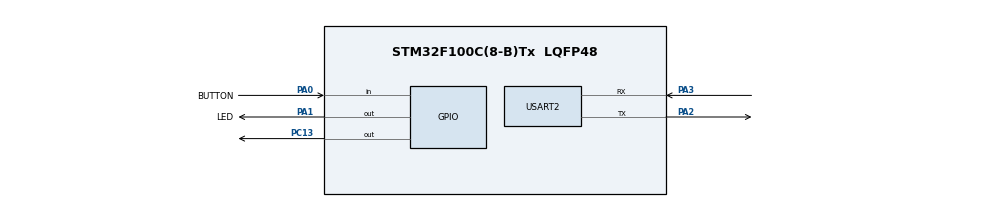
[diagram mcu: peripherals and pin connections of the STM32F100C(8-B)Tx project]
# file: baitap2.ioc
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FREERTOS.Queues01=Queue,16,uint16_t,0,Dynamic,NULL,NULL
FREERTOS.Tasks01=TaskUART,0,128,StartTaskUART,Default,NULL,Dynamic,NULL,NULL;TaskLED,-3,128,StartTaskLED,Default,NULL,Dynamic,NULL,NULL;TaskButton,-3,128,StartTaskButton,Default,NULL,Dynamic,NULL,NULL
Mcu.Family=STM32F1
Mcu.Name=STM32F100C(8-B)Tx
Mcu.Package=LQFP48
NVIC.PriorityGroup=NVIC_PRIORITYGROUP_4
NVIC.TIM1_UP_TIM16_IRQn=true\:15\:0\:false\:false\:true\:false\:false\:true\:true
NVIC.TimeBase=TIM1_UP_TIM16_IRQn
NVIC.TimeBaseIP=TIM1
NVIC.USART2_IRQn=true\:5\:0\:false\:false\:true\:true\:true\:true\:true
PA0-WKUP.GPIO_Label=BUTTON
PA0-WKUP.GPIO_PuPd=GPIO_PULLUP
PA0-WKUP.Signal=GPIO_Input
PA1.GPIO_Label=LED
PA1.Signal=GPIO_Output
PA13.Mode=Serial_Wire
PA13.Signal=SYS_JTMS-SWDIO
PA14.Mode=Serial_Wire
PA14.Signal=SYS_JTCK-SWCLK
PA2.Mode=Asynchronous
PA2.Signal=USART2_TX
PA3.Mode=Asynchronous
PA3.Signal=USART2_RX
PC13-TAMPER-RTC.Signal=GPIO_Output
ProjectManager.HeapSize=0x200
ProjectManager.StackSize=0x400
ProjectManager.TargetToolchain=STM32CubeIDE
RCC.APB1Freq_Value=8000000
RCC.APB2Freq_Value=8000000
USART2.VirtualMode=VM_ASYNC
VP_FREERTOS_VS_CMSIS_V1.Mode=CMSIS_V1
VP_SYS_VS_tim1.Mode=TIM1
board=custom

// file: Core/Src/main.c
/* USER CODE BEGIN Header */
/**
  ******************************************************************************
  * @file           : main.c
  * @brief          : Main program body
  ******************************************************************************
  * @attention
  *
  * Copyright (c) 2024 STMicroelectronics.
  * All rights reserved.
  *
  * This software is licensed under terms that can be found in the LICENSE file
  * in the root directory of this software component.
  * If no LICENSE file comes with this software, it is provided AS-IS.
  *
  ******************************************************************************
  */
/* USER CODE END Header */
#include <stdio.h>
#include "main.h"
#include "string.h"
#include "stdbool.h"
#include "cmsis_os.h"

UART_HandleTypeDef huart2;

osThreadId TaskUARTHandle;
osThreadId TaskLEDHandle;
osThreadId TaskButtonHandle;
osMessageQId QueueHandle;

void SystemClock_Config(void);
static void MX_GPIO_Init(void);
static void MX_USART2_UART_Init(void);
void StartTaskUART(void const * argument);
void StartTaskLED(void const * argument);
void StartTaskButton(void const * argument);

/* USER CODE BEGIN 0 */
uint8_t status;
uint8_t rx_data[12]={};
uint8_t tx_data[]="Received Information\r\n";

/* USER CODE END 0 */

int main(void)
{

  /* MCU Configuration--------------------------------------------------------*/

  /* Reset of all peripherals, Initializes the Flash interface and the Systick. */
  HAL_Init();

  /* Configure the system clock */
  SystemClock_Config();

  /* Initialize all configured peripherals */
  MX_GPIO_Init();
  MX_USART2_UART_Init();

  /* Create the queue(s) */
  /* definition and creation of Queue */
  osMessageQDef(Queue, 16, uint16_t);
  QueueHandle = osMessageCreate(osMessageQ(Queue), NULL);

  /* Create the thread(s) */
  /* definition and creation of TaskUART */
  osThreadDef(TaskUART, StartTaskUART, osPriorityNormal, 0, 128);
  TaskUARTHandle = osThreadCreate(osThread(TaskUART), NULL);

  /* definition and creation of TaskLED */
  osThreadDef(TaskLED, StartTaskLED, osPriorityIdle, 0, 128);
  TaskLEDHandle = osThreadCreate(osThread(TaskLED), NULL);

  /* definition and creation of TaskButton */
  osThreadDef(TaskButton, StartTaskButton, osPriorityIdle, 0, 128);
  TaskButtonHandle = osThreadCreate(osThread(TaskButton), NULL);

  /* Start scheduler */
  osKernelStart();

  /* We should never get here as control is now taken by the scheduler */
  /* Infinite loop */
  while (1)
  {

  }
}

void SystemClock_Config(void)
{
  RCC_OscInitTypeDef RCC_OscInitStruct = {0};
  RCC_ClkInitTypeDef RCC_ClkInitStruct = {0};

  /** Initializes the RCC Oscillators according to the specified parameters
  * in the RCC_OscInitTypeDef structure.
  */
  RCC_OscInitStruct.OscillatorType = RCC_OSCILLATORTYPE_HSI;
  RCC_OscInitStruct.HSIState = RCC_HSI_ON;
  RCC_OscInitStruct.HSICalibrationValue = RCC_HSICALIBRATION_DEFAULT;
  RCC_OscInitStruct.PLL.PLLState = RCC_PLL_NONE;
  if (HAL_RCC_OscConfig(&RCC_OscInitStruct) != HAL_OK)
  {
    Error_Handler();
  }

  /** Initializes the CPU, AHB and APB buses clocks
  */
  RCC_ClkInitStruct.ClockType = RCC_CLOCKTYPE_HCLK|RCC_CLOCKTYPE_SYSCLK
                              |RCC_CLOCKTYPE_PCLK1|RCC_CLOCKTYPE_PCLK2;
  RCC_ClkInitStruct.SYSCLKSource = RCC_SYSCLKSOURCE_HSI;
  RCC_ClkInitStruct.AHBCLKDivider = RCC_SYSCLK_DIV1;
  RCC_ClkInitStruct.APB1CLKDivider = RCC_HCLK_DIV1;
  RCC_ClkInitStruct.APB2CLKDivider = RCC_HCLK_DIV1;

  if (HAL_RCC_ClockConfig(&RCC_ClkInitStruct, FLASH_LATENCY_0) != HAL_OK)
  {
    Error_Handler();
  }
}

static void MX_USART2_UART_Init(void)
{

  huart2.Instance = USART2;
  huart2.Init.BaudRate = 115200;
  huart2.Init.WordLength = UART_WORDLENGTH_8B;
  huart2.Init.StopBits = UART_STOPBITS_1;
  huart2.Init.Parity = UART_PARITY_NONE;
  huart2.Init.Mode = UART_MODE_TX_RX;
  huart2.Init.HwFlowCtl = UART_HWCONTROL_NONE;
  huart2.Init.OverSampling = UART_OVERSAMPLING_16;
  if (HAL_UART_Init(&huart2) != HAL_OK)
  {
    Error_Handler();
  }

}

static void MX_GPIO_Init(void)
{
  GPIO_InitTypeDef GPIO_InitStruct = {0};

  /* GPIO Ports Clock Enable */
  __HAL_RCC_GPIOC_CLK_ENABLE();
  __HAL_RCC_GPIOA_CLK_ENABLE();

  /*Configure GPIO pin Output Level */
  HAL_GPIO_WritePin(GPIOC, GPIO_PIN_13, GPIO_PIN_RESET);

  /*Configure GPIO pin Output Level */
  HAL_GPIO_WritePin(LED_GPIO_Port, LED_Pin, GPIO_PIN_RESET);

  /*Configure GPIO pin : PC13 */
  GPIO_InitStruct.Pin = GPIO_PIN_13;
  GPIO_InitStruct.Mode = GPIO_MODE_OUTPUT_PP;
  GPIO_InitStruct.Pull = GPIO_NOPULL;
  GPIO_InitStruct.Speed = GPIO_SPEED_FREQ_LOW;
  HAL_GPIO_Init(GPIOC, &GPIO_InitStruct);

  /*Configure GPIO pin : BUTTON_Pin */
  GPIO_InitStruct.Pin = BUTTON_Pin;
  GPIO_InitStruct.Mode = GPIO_MODE_INPUT;
  GPIO_InitStruct.Pull = GPIO_PULLUP;
  HAL_GPIO_Init(BUTTON_GPIO_Port, &GPIO_InitStruct);

  /*Configure GPIO pin : LED_Pin */
  GPIO_InitStruct.Pin = LED_Pin;
  GPIO_InitStruct.Mode = GPIO_MODE_OUTPUT_PP;
  GPIO_InitStruct.Pull = GPIO_NOPULL;
  GPIO_InitStruct.Speed = GPIO_SPEED_FREQ_LOW;
  HAL_GPIO_Init(LED_GPIO_Port, &GPIO_InitStruct);

}

void StartTaskUART(void const * argument)
{
  /* USER CODE BEGIN 5 */
	int Tx_data_Queue;
	uint8_t temp[12]={};
  /* Infinite loop */
  for(;;)
  {
	  HAL_UART_Receive_IT(&huart2, rx_data, sizeof(rx_data));

	  if(memcmp(rx_data,"ON\CR\LF    ",sizeof(int)))
	  {
		  Tx_data_Queue=5;
		  osMessagePut(QueueHandle, Tx_data_Queue, 100);
		  strcpy(rx_data,temp);
 	  }
	  else if(memcmp(rx_data,"OFF\CR\LF   ",sizeof(int)))
	  {
		  Tx_data_Queue=6;
		  osMessagePut(QueueHandle, Tx_data_Queue, 100);
		  strcpy(rx_data,temp);
	  }
	  else if(memcmp(rx_data,"TOOGLE\CR\LF",sizeof(int)))
	  {
		  Tx_data_Queue=7;
		  osMessagePut(QueueHandle, Tx_data_Queue, 100);
		  strcpy(rx_data,temp);
	  }

    osDelay(1);
  }
  /* USER CODE END 5 */
}

void StartTaskLED(void const * argument)
{
	osEvent value;
	int Rx_data=0;
  /* USER CODE BEGIN StartTaskLED */
  /* Infinite loop */
  for(;;)
  {
	  value=osMessageGet(QueueHandle, 100);
	  Rx_data=value.value.p;
	  switch (Rx_data)
	  {
	  case 5:
		  HAL_GPIO_WritePin(LED_GPIO_Port, LED_Pin, GPIO_PIN_SET);
		  break;
	  case 6:
		  HAL_GPIO_WritePin(LED_GPIO_Port, LED_Pin, GPIO_PIN_RESET);
	  		  break;
	  case 7:
		  HAL_GPIO_TogglePin(LED_GPIO_Port, LED_Pin);
	  		  break;
	  default:
		  HAL_GPIO_WritePin(LED_GPIO_Port, LED_Pin, Rx_data);
		  break;
	  }
	  osDelay(1);
  }
  /* USER CODE END StartTaskLED */
}

void StartTaskButton(void const * argument)
{
	int Tx_data=HAL_GPIO_ReadPin(BUTTON_GPIO_Port, BUTTON_Pin);
  /* USER CODE BEGIN StartTaskButton */
  /* Infinite loop */
  for(;;)
  {
	  if(HAL_GPIO_ReadPin(BUTTON_GPIO_Port, BUTTON_Pin) == 0)
	  {
		  while (HAL_GPIO_ReadPin(BUTTON_GPIO_Port, BUTTON_Pin) == 0){}
		  Tx_data =~ Tx_data;
		  osMessagePut(QueueHandle, Tx_data, 100);
	  }
    osDelay(1);
  }
  /* USER CODE END StartTaskButton */
}

void HAL_TIM_PeriodElapsedCallback(TIM_HandleTypeDef *htim)
{
  if (htim->Instance == TIM1) {
    HAL_IncTick();
  }
}

void HAL_UART_RxCpltCallback(UART_HandleTypeDef *huart)
{
    if(huart->Instance == USART2)
    {
    	HAL_UART_Receive_IT(&huart2, rx_data, sizeof(rx_data));
    }
}
void Error_Handler(void)
{
  __disable_irq();
  while (1)
  {
  }
}
